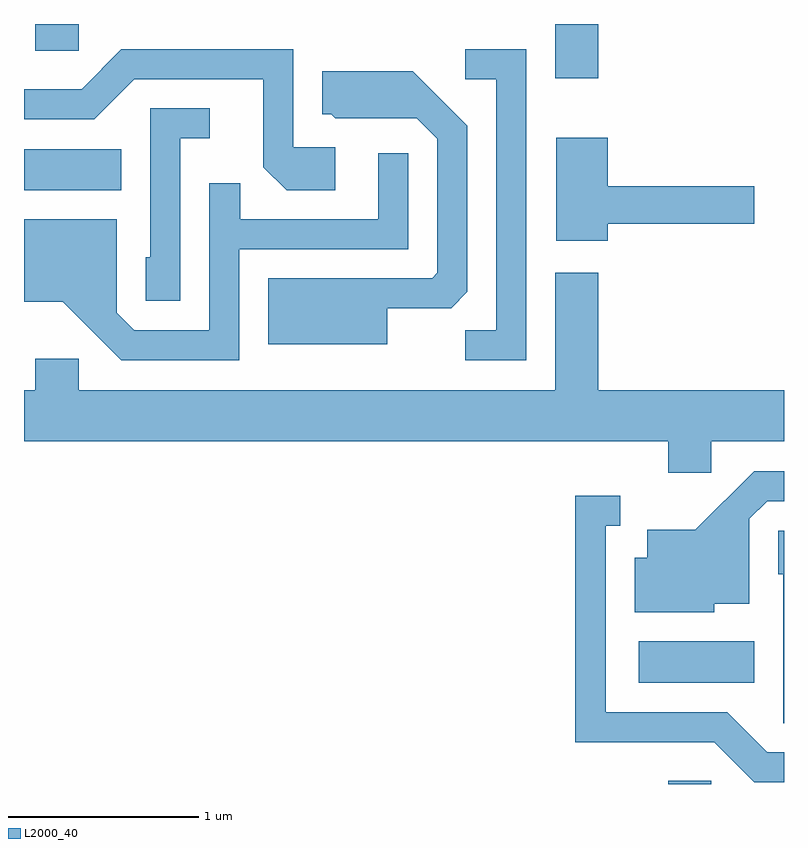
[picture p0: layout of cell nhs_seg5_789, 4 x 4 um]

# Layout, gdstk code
import gdstk
lib = gdstk.Library(unit=1e-6, precision=1e-09)
def R(c, l, rs):  # rectangles x0, y0, x1, y1
    for r in rs: c.add(gdstk.rectangle(r[:2], r[2:], *l))
def P(c, l, *ps):  # polygons
    for p in ps: c.add(gdstk.Polygon(p, *l))
L2000_40 = (2000, 40)

nhs_seg5_789 = lib.new_cell('nhs_seg5_789')
R(nhs_seg5_789, L2000_40, [(211.001,1486.072,211.229,1486.089), (210.846,1486.606,211.454,1486.824), (207.611,1489.196,208.124,1489.414), (210.406,1489.786,210.634,1490.072), (207.671,1489.931,207.899,1490.072)])
P(nhs_seg5_789, L2000_40, [(209.249,1489.424),(209.029,1489.424),(209.029,1489.939),(208.124,1489.939),(207.914,1489.729),(207.611,1489.729),(207.611,1489.571),(207.982,1489.571),(208.192,1489.781),(208.871,1489.781),(208.871,1489.319),(208.994,1489.196),(209.249,1489.196)],
  [(210.254,1489.939),(209.933,1489.939),(209.933,1489.781),(210.096,1489.781),(210.096,1488.459),(209.933,1488.459),(209.933,1488.301),(210.254,1488.301)],
  [(209.524,1488.576),(209.859,1488.576),(209.944,1488.662),(209.944,1489.537),(209.657,1489.824),(209.181,1489.824),(209.181,1489.596),(209.229,1489.596),(209.249,1489.576),(209.679,1489.576),(209.786,1489.469),(209.786,1488.762),(209.759,1488.734),(208.896,1488.734),(208.896,1488.386),(209.524,1488.386)],
  [(208.434,1489.471),(208.588,1489.471),(208.588,1489.629),(208.276,1489.629),(208.276,1488.844),(208.251,1488.844),(208.251,1488.616),(208.434,1488.616)],
  [(210.684,1489.021),(211.454,1489.021),(211.454,1489.219),(210.684,1489.219),(210.684,1489.474),(210.411,1489.474),(210.411,1488.931),(210.684,1488.931)],
  [(208.744,1488.886),(209.634,1488.886),(209.634,1489.393),(209.476,1489.393),(209.476,1489.044),(208.749,1489.044),(208.749,1489.233),(208.586,1489.233),(208.586,1488.459),(208.192,1488.459),(208.099,1488.552),(208.099,1489.044),(207.611,1489.044),(207.611,1488.611),(207.814,1488.611),(208.124,1488.301),(208.744,1488.301)],
  [(211.229,1487.876),(211.611,1487.876),(211.611,1488.144),(210.634,1488.144),(210.634,1488.764),(210.406,1488.764),(210.406,1488.144),(207.899,1488.144),(207.899,1488.309),(207.671,1488.309),(207.671,1488.144),(207.611,1488.144),(207.611,1487.876),(211.001,1487.876),(211.001,1487.711),(211.229,1487.711)],
  [(211.244,1487.021),(211.429,1487.021),(211.429,1487.469),(211.522,1487.561),(211.611,1487.561),(211.611,1487.719),(211.454,1487.719),(211.144,1487.409),(210.891,1487.409),(210.891,1487.264),(210.826,1487.264),(210.826,1486.976),(211.244,1486.976)],
  [(211.611,1486.239),(211.522,1486.239),(211.312,1486.449),(210.674,1486.449),(210.674,1487.431),(210.748,1487.431),(210.748,1487.589),(210.511,1487.589),(210.511,1486.291),(211.244,1486.291),(211.454,1486.081),(211.611,1486.081)],
  [(211.611,1487.404),(211.581,1487.404),(211.581,1487.176),(211.606,1487.176),(211.606,1486.391),(211.611,1486.391)])

lib.write_gds('nhs_seg5_789.gds')
